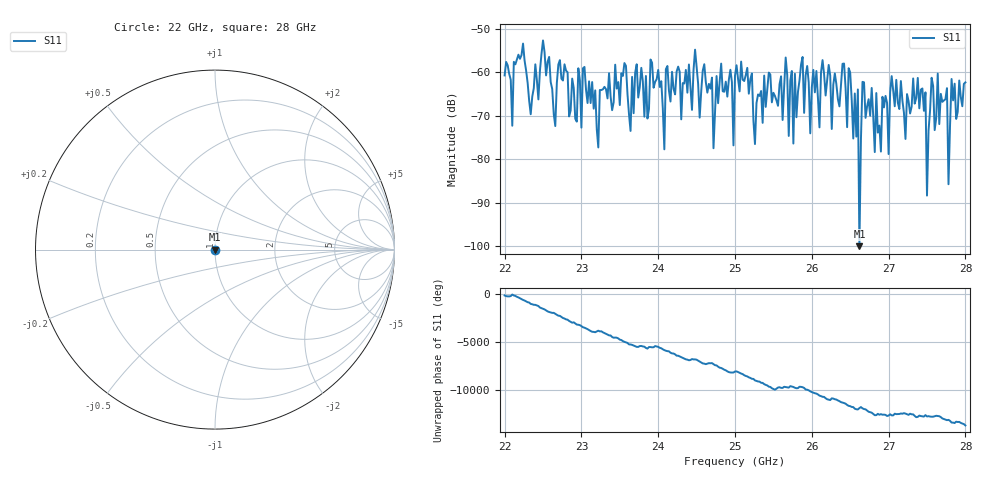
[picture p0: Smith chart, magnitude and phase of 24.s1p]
#  HZ  S  RI  R  50.00
! Rohde & Schwarz ZVA40 4Ports - Version 3.90 - 1145.1110k42 SN: 100403
! Date: 2023-10-04 08:08:33
! Measurement: S12
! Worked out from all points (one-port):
!   301 points, 22 GHz to 28 GHz, reference 50 ohm
!   lowest |S11| = -100.0 dB at 26.62 GHz (marker M1), VSWR 1.00, Z = 50 + j0.000555 ohm
!   |S11| at or under -10 dB: start of sweep to end of sweep
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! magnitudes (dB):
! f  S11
! 22 GHz  -60.7
! 22.76 GHz  -61.9
! 23.5 GHz  -67.5
! 23.9 GHz  -57.1
! 24.08 GHz  -77.7
! 24.1 GHz  -59.3
! 24.26 GHz  -58.7
! 24.7 GHz  -61.2
! 24.72 GHz  -77.5
! 24.82 GHz  -58.0
! 24.98 GHz  -76.8
! 25 GHz  -60.8
! 25.26 GHz  -76.5
! 25.66 GHz  -56.6
! 25.76 GHz  -76.4
! 25.88 GHz  -56.5
! 25.98 GHz  -74.0
! 26.5 GHz  -60.0
! 26.62 GHz  -100.0
! 26.66 GHz  -62.2
! 26.82 GHz  -78.3
! 27.26 GHz  -66.6
! 27.48 GHz  -64.6
! 27.5 GHz  -88.3
! 27.64 GHz  -60.3
! 27.78 GHz  -85.7
! 27.82 GHz  -61.5
! 28 GHz  -62.3
